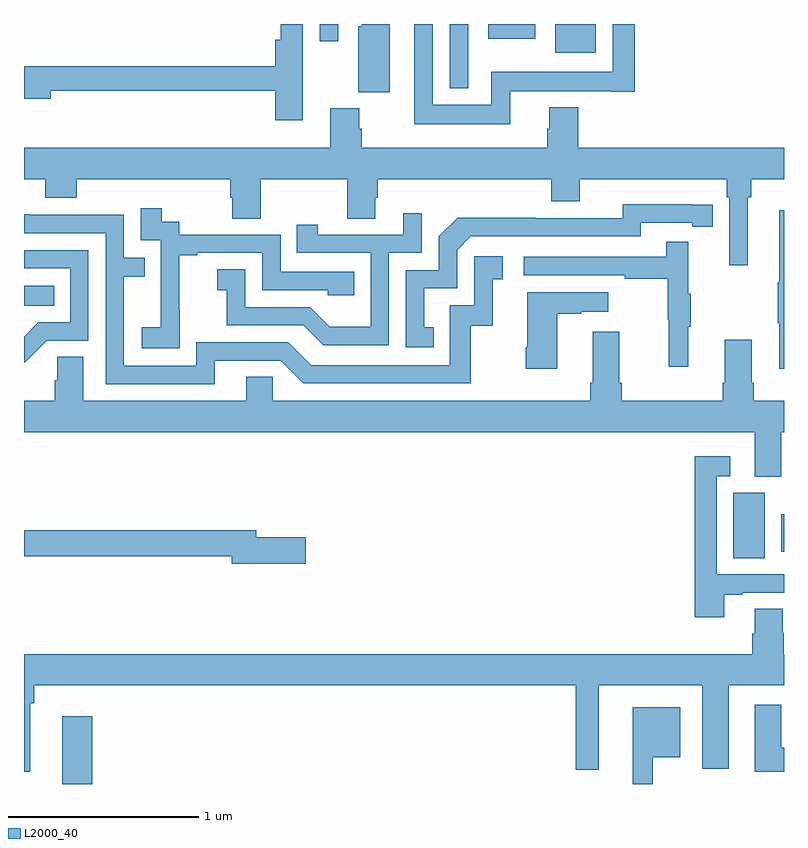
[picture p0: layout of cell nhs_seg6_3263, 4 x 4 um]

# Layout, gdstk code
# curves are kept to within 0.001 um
import gdstk
lib = gdstk.Library(unit=1e-6, precision=1e-09)
def R(c, l, rs):  # rectangles x0, y0, x1, y1
    for r in rs: c.add(gdstk.rectangle(r[:2], r[2:], *l))
def P(c, l, *ps):  # polygons
    for p in ps: c.add(gdstk.Polygon(p, *l))
L2000_40 = (2000, 40)

nhs_seg6_3263 = lib.new_cell('nhs_seg6_3263')
R(nhs_seg6_3263, L2000_40, [(303.2,929.5,303.359,929.857), (306.734,930.688,306.898,931.032), (306.986,930.723,307,930.919), (303,932.018,303.158,932.122), (305.241,933.161,305.337,933.5), (305.795,933.35,306.01,933.5), (304.557,933.408,304.653,933.5), (305.444,933.422,305.692,933.5)])
P(nhs_seg6_3263, L2000_40, [(304.468,933.255),(304.467,933.255),(304.467,933.5),(304.351,933.5),(304.351,933.418),(304.322,933.418),(304.322,933.278),(303,933.278),(303,933.107),(303.142,933.107),(303.142,933.15),(304.322,933.15),(304.322,932.994),(304.468,932.994)],
  [(305.558,933.146),(306.092,933.146),(306.092,933.144),(306.215,933.144),(306.215,933.5),(306.099,933.5),(306.099,933.25),(305.46,933.25),(305.46,933.076),(305.151,933.076),(305.151,933.5),(305.054,933.5),(305.054,932.972),(305.558,932.972)],
  [(304.924,933.5),(304.778,933.5),(304.778,933.489),(304.76,933.489),(304.76,933.142),(304.924,933.142)],
  [(304.765,932.948),(304.765,933.057),(304.613,933.057),(304.613,932.848),(303,932.848),(303,932.684),(303.113,932.684),(303.113,932.585),(303.278,932.585),(303.278,932.684),(304.085,932.684),(304.085,932.586),(304.097,932.586),(304.097,932.476),(304.245,932.476),(304.245,932.684),(304.702,932.684),(304.702,932.476),(304.849,932.476),(304.849,932.586),(304.862,932.586),(304.862,932.684),(305.774,932.684),(305.774,932.567),(305.926,932.567),(305.926,932.684),(306.698,932.684),(306.698,932.588),(306.711,932.588),(306.711,932.229),(306.808,932.229),(306.808,932.588),(306.827,932.588),(306.827,932.684),(307,932.684),(307,932.848),(305.918,932.848),(305.918,933.061),(305.765,933.061),(305.765,932.949),(305.753,932.949),(305.753,932.848),(304.778,932.848),(304.778,932.948)],
  [(305.156,931.905),(305.107,931.905),(305.107,932.109),(305.28,932.109),(305.28,932.31),(305.352,932.382),(306.246,932.382),(306.246,932.454),(306.518,932.454),(306.518,932.434),(306.626,932.434),(306.626,932.55),(306.15,932.551),(306.15,932.478),(305.69,932.478),(305.69,932.48),(305.282,932.48),(305.184,932.382),(305.184,932.205),(305.01,932.205),(305.01,931.8),(305.156,931.8)],
  [(303.819,931.999),(303.818,931.999),(303.818,932.283),(303.913,932.283),(303.913,932.295),(304.254,932.295),(304.254,932.1),(304.599,932.1),(304.599,932.073),(304.739,932.073),(304.739,932.196),(304.35,932.196),(304.35,932.391),(303.816,932.391),(303.816,932.46),(303.724,932.46),(303.724,932.53),(303.615,932.53),(303.615,932.361),(303.72,932.361),(303.72,932.132),(303.719,932.132),(303.719,931.903),(303.621,931.903),(303.621,931.793),(303.819,931.793)],
  [(307,932.521),(306.974,932.521),(306.974,932.141),(306.967,932.141),(306.967,931.924),(306.974,931.924),(306.974,931.686),(307,931.686)],
  [(304.92,932.295),(305.094,932.295),(305.094,932.503),(304.997,932.503),(304.997,932.391),(304.546,932.391),(304.546,932.443),(304.435,932.443),(304.435,932.295),(304.824,932.295),(304.824,931.906),(304.61,931.906),(304.506,932.01),(304.164,932.01),(304.164,932.209),(304.017,932.209),(304.017,932.099),(304.066,932.099),(304.066,931.914),(304.469,931.914),(304.574,931.809),(304.92,931.809)],
  [(304.003,931.728),(304.35,931.728),(304.47,931.608),(305.35,931.608),(305.35,931.911),(305.468,931.911),(305.468,932.157),(305.521,932.157),(305.521,932.278),(305.37,932.278),(305.37,932.019),(305.241,932.019),(305.241,931.704),(304.512,931.704),(304.392,931.824),(303.906,931.824),(303.906,931.701),(303.525,931.701),(303.525,932.17),(303.635,932.17),(303.635,932.271),(303.525,932.271),(303.525,932.496),(303.029,932.496),(303.029,932.498),(303,932.498),(303,932.4),(303.429,932.4),(303.429,931.605),(304.003,931.605)],
  [(306.497,931.907),(306.508,931.907),(306.508,932.081),(306.497,932.081),(306.497,932.353),(306.379,932.353),(306.379,932.274),(305.631,932.274),(305.631,932.178),(306.163,932.178),(306.163,932.158),(306.387,932.158),(306.387,931.944),(306.394,931.944),(306.394,931.695),(306.497,931.695)],
  [(303.12,931.833),(303.339,931.833),(303.339,932.31),(303,932.31),(303,932.214),(303.243,932.214),(303.243,931.929),(303.074,931.929),(303,931.855),(303,931.721),(303.007,931.721)],
  [(305.806,931.975),(305.933,931.975),(305.933,931.985),(306.076,931.985),(306.076,932.089),(305.648,932.089),(305.648,931.798),(305.641,931.798),(305.641,931.686),(305.806,931.686)],
  [(306.689,931.837),(306.689,931.612),(306.677,931.612),(306.677,931.516),(306.146,931.516),(306.146,931.612),(306.133,931.612),(306.133,931.879),(305.993,931.879),(305.993,931.612),(305.981,931.612),(305.981,931.516),(304.308,931.516),(304.308,931.643),(304.169,931.643),(304.169,931.516),(303.313,931.516),(303.313,931.748),(303.174,931.748),(303.174,931.625),(303.161,931.625),(303.161,931.516),(303,931.516),(303,931.352),(306.845,931.352),(306.845,931.117),(306.985,931.117),(306.985,931.352),(307,931.352),(307,931.516),(306.842,931.516),(306.842,931.612),(306.829,931.612),(306.829,931.837)],
  [(306.685,930.495),(306.781,930.495),(306.781,930.507),(307,930.507),(307,930.603),(306.645,930.603),(306.645,931.119),(306.718,931.119),(306.718,931.225),(306.529,931.225),(306.529,930.378),(306.685,930.378)],
  [(304.483,930.8),(304.222,930.8),(304.222,930.836),(303,930.836),(303,930.7),(304.094,930.7),(304.094,930.658),(304.483,930.658)],
  [(303.034,929.924),(303.053,929.924),(303.053,930.02),(305.904,930.02),(305.904,929.576),(306.025,929.576),(306.025,930.02),(306.569,930.02),(306.569,929.579),(306.709,929.579),(306.709,930.02),(307,930.02),(307,930.184),(306.998,930.184),(306.998,930.297),(306.993,930.297),(306.993,930.422),(306.845,930.422),(306.845,930.29),(306.833,930.29),(306.833,930.184),(303,930.184),(303,929.565),(303.034,929.565)],
  [(307,929.692),(306.985,929.692),(306.985,929.917),(306.845,929.917),(306.845,929.564),(307,929.564)],
  [(306.31,929.642),(306.454,929.642),(306.454,929.905),(306.203,929.905),(306.203,929.5),(306.31,929.5)])

lib.write_gds('nhs_seg6_3263.gds')
